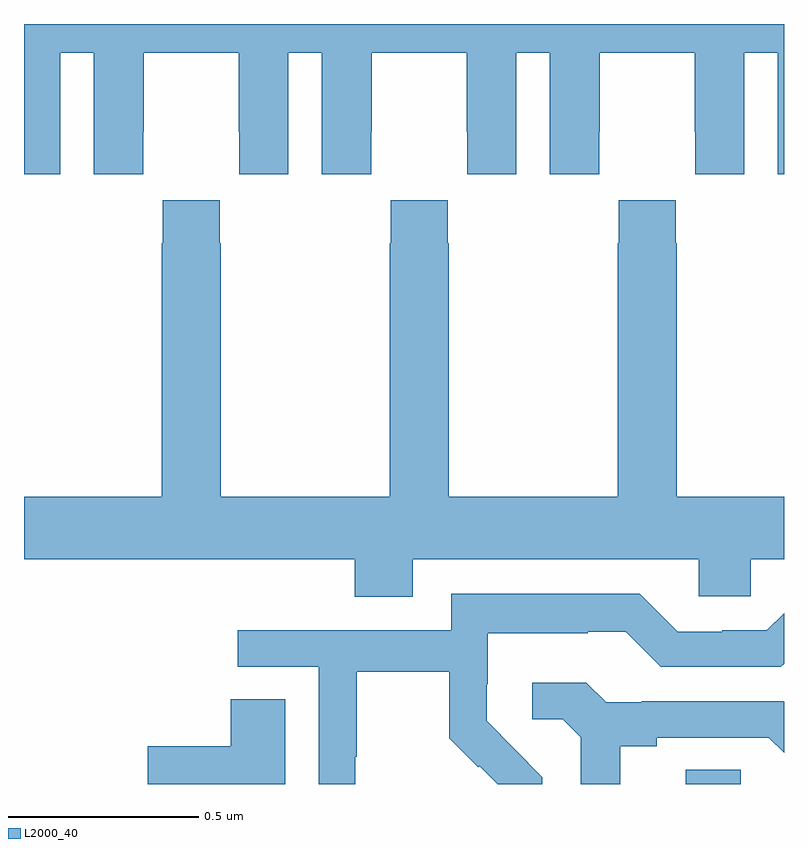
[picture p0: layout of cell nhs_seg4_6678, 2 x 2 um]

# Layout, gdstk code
import gdstk
lib = gdstk.Library(unit=1e-6, precision=1e-09)
def R(c, l, rs):  # rectangles x0, y0, x1, y1
    for r in rs: c.add(gdstk.rectangle(r[:2], r[2:], *l))
def P(c, l, *ps):  # polygons
    for p in ps: c.add(gdstk.Polygon(p, *l))
L2000_40 = (2000, 40)

nhs_seg4_6678 = lib.new_cell('nhs_seg4_6678')
R(nhs_seg4_6678, L2000_40, [(194.741,790.9,194.886,790.937)])
P(nhs_seg4_6678, L2000_40, [(193.096,792.824),(193.184,792.824),(193.184,792.504),(193.314,792.504),(193.314,792.616),(193.315,792.616),(193.315,792.824),(193.565,792.824),(193.565,792.616),(193.566,792.616),(193.566,792.504),(193.696,792.504),(193.696,792.824),(193.784,792.824),(193.784,792.504),(193.914,792.504),(193.914,792.616),(193.915,792.616),(193.915,792.824),(194.165,792.824),(194.165,792.616),(194.166,792.616),(194.166,792.504),(194.296,792.504),(194.296,792.824),(194.384,792.824),(194.384,792.504),(194.514,792.504),(194.514,792.616),(194.515,792.616),(194.515,792.824),(194.765,792.824),(194.765,792.616),(194.766,792.616),(194.766,792.504),(194.896,792.504),(194.896,792.824),(194.984,792.824),(194.984,792.504),(195,792.504),(195,792.9),(193,792.9),(193,792.504),(193.096,792.504)],
  [(194.023,791.492),(194.775,791.492),(194.775,791.394),(194.913,791.394),(194.913,791.492),(195,791.492),(195,791.656),(194.718,791.656),(194.718,792.323),(194.715,792.323),(194.715,792.436),(194.565,792.436),(194.565,792.323),(194.563,792.323),(194.563,791.656),(194.118,791.656),(194.118,792.323),(194.115,792.323),(194.115,792.436),(193.965,792.436),(193.965,792.323),(193.963,792.323),(193.963,791.656),(193.518,791.656),(193.518,792.323),(193.515,792.323),(193.515,792.436),(193.365,792.436),(193.365,792.323),(193.363,792.323),(193.363,791.656),(193,791.656),(193,791.492),(193.871,791.492),(193.871,791.393),(194.023,791.393)],
  [(193.872,790.972),(193.875,790.972),(193.875,791.196),(194.119,791.196),(194.119,791.021),(194.196,790.944),(194.199,790.947),(194.247,790.9),(194.364,790.9),(194.364,790.918),(194.291,790.991),(194.292,790.992),(194.218,791.066),(194.218,791.163),(194.22,791.163),(194.22,791.297),(194.483,791.297),(194.483,791.301),(194.583,791.301),(194.676,791.208),(194.991,791.208),(195,791.217),(195,791.349),(194.955,791.304),(194.837,791.304),(194.837,791.301),(194.721,791.301),(194.621,791.401),(194.124,791.401),(194.124,791.304),(193.563,791.304),(193.563,791.208),(193.776,791.208),(193.776,790.9),(193.872,790.9)],
  [(194.569,791),(194.665,791),(194.665,791.022),(194.96,791.022),(195,790.982),(195,791.116),(194.998,791.118),(194.626,791.118),(194.626,791.115),(194.532,791.115),(194.48,791.167),(194.337,791.167),(194.337,791.07),(194.418,791.07),(194.465,791.023),(194.465,790.9),(194.569,790.9)],
  [(193.687,791.123),(193.544,791.123),(193.544,791),(193.326,791),(193.326,790.9),(193.687,790.9)])

lib.write_gds('nhs_seg4_6678.gds')
